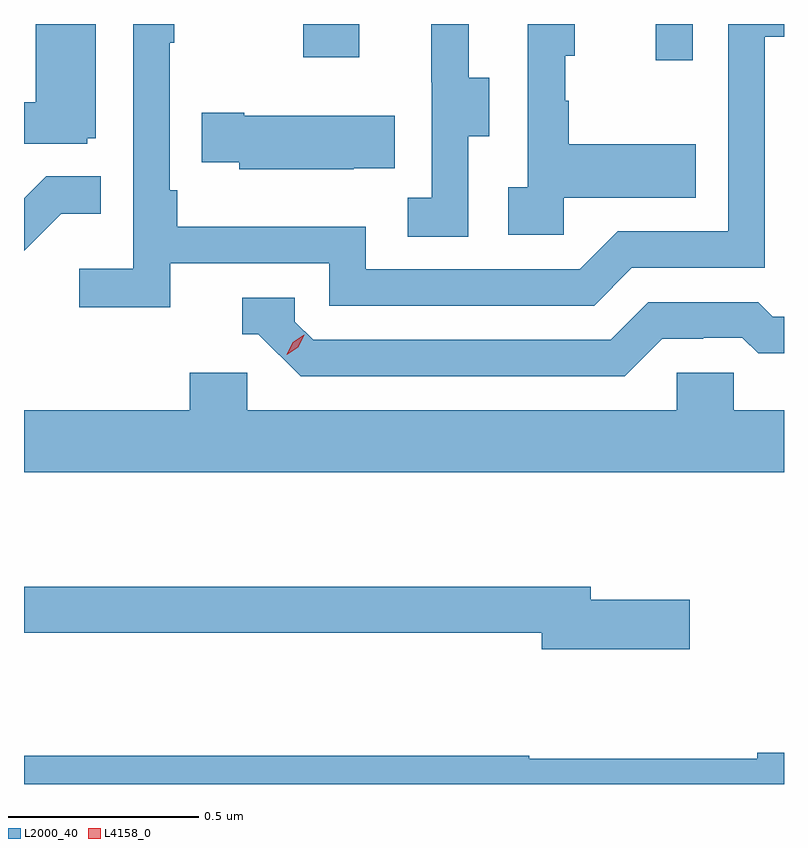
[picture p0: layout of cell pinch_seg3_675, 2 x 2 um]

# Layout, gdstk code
import gdstk
lib = gdstk.Library(unit=1e-6, precision=1e-09)
def R(c, l, rs):  # rectangles x0, y0, x1, y1
    for r in rs: c.add(gdstk.rectangle(r[:2], r[2:], *l))
def P(c, l, *ps):  # polygons
    for p in ps: c.add(gdstk.Polygon(p, *l))
L2000_40 = (2000, 40)
L4158_0 = (4158, 0)

pinch_seg3_675 = lib.new_cell('pinch_seg3_675')
R(pinch_seg3_675, L2000_40, [(1062.746,686.016,1062.843,686.112), (1061.818,686.025,1061.965,686.112)])
P(pinch_seg3_675, L2000_40, [(1062.252,685.816),(1062.307,685.816),(1062.307,685.971),(1062.253,685.971),(1062.253,686.112),(1062.155,686.112),(1062.155,685.959),(1062.156,685.959),(1062.156,685.655),(1062.093,685.655),(1062.093,685.552),(1062.252,685.552)],
  [(1061.468,685.482),(1061.886,685.482),(1061.886,685.371),(1062.583,685.371),(1062.682,685.47),(1063.032,685.47),(1063.032,686.079),(1063.083,686.079),(1063.083,686.112),(1062.936,686.112),(1062.936,685.566),(1062.645,685.566),(1062.546,685.467),(1061.982,685.467),(1061.982,685.579),(1061.486,685.579),(1061.486,685.675),(1061.466,685.675),(1061.466,686.063),(1061.479,686.063),(1061.479,686.112),(1061.37,686.112),(1061.37,685.468),(1061.229,685.468),(1061.229,685.366),(1061.468,685.366)],
  [(1061.25,685.812),(1061.272,685.812),(1061.272,686.112),(1061.114,686.112),(1061.114,685.906),(1061.083,685.906),(1061.083,685.797),(1061.25,685.797)],
  [(1062.504,685.655),(1062.851,685.655),(1062.851,685.795),(1062.517,685.795),(1062.517,685.91),(1062.507,685.91),(1062.507,686.028),(1062.532,686.028),(1062.532,686.112),(1062.408,686.112),(1062.408,685.682),(1062.357,685.682),(1062.357,685.557),(1062.504,685.557)],
  [(1061.951,685.733),(1062.059,685.733),(1062.059,685.87),(1061.662,685.87),(1061.662,685.878),(1061.551,685.878),(1061.551,685.748),(1061.649,685.748),(1061.649,685.73),(1061.951,685.73)],
  [(1061.181,685.613),(1061.285,685.613),(1061.285,685.712),(1061.141,685.712),(1061.083,685.654),(1061.083,685.515)],
  [(1062.763,685.284),(1062.87,685.284),(1062.87,685.287),(1062.973,685.287),(1063.015,685.245),(1063.083,685.245),(1063.083,685.341),(1063.054,685.341),(1063.015,685.38),(1062.726,685.38),(1062.627,685.281),(1061.844,685.281),(1061.796,685.329),(1061.796,685.392),(1061.657,685.392),(1061.657,685.296),(1061.7,685.296),(1061.811,685.185),(1062.664,685.185)],
  [(1063.083,685.096),(1062.951,685.096),(1062.951,685.194),(1062.801,685.194),(1062.801,685.096),(1061.67,685.096),(1061.67,685.194),(1061.519,685.194),(1061.519,685.096),(1061.083,685.096),(1061.083,684.932),(1063.083,684.932)],
  [(1062.835,684.597),(1062.574,684.597),(1062.574,684.631),(1061.083,684.631),(1061.083,684.51),(1062.446,684.51),(1062.446,684.467),(1062.835,684.467)],
  [(1063.083,684.194),(1063.012,684.194),(1063.012,684.179),(1062.412,684.179),(1062.412,684.187),(1061.083,684.187),(1061.083,684.112),(1063.083,684.112)])
P(pinch_seg3_675, L4158_0, [(1061.774,685.242),(1061.774,685.242),(1061.79,685.275),(1061.821,685.294),(1061.821,685.294),(1061.821,685.294),(1061.805,685.261),(1061.774,685.242)])

lib.write_gds('pinch_seg3_675.gds')
